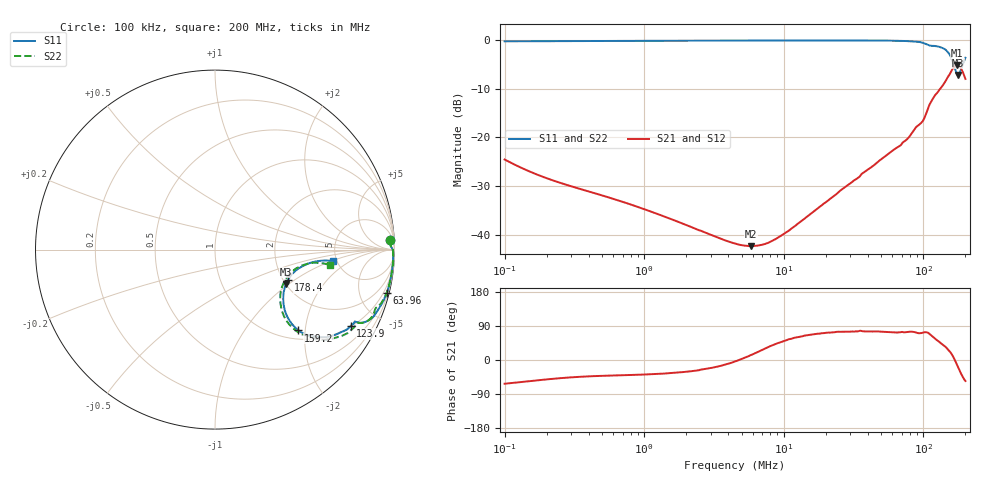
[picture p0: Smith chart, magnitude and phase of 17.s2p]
#  HZ  S  RI  R  50.00
! Rohde & Schwarz Vector Network Analyzer
! Rohde-Schwarz,ZNLE6-2Port,1323001256200024,1.71.1.10-23.02.1.238
! Created: UTC 4/7/2025, 7:53:21 AM
! freq[Hz]  re:S11  im:S11  re:S21  im:S21  re:S12  im:S12  re:S22  im:S22
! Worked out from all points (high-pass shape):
!   1001 points, 100 kHz to 200 MHz, reference 50 ohm
!   highest |S21| = -5.11 dB at 174.4 MHz (marker M1); lowest = -42.4 dB at 5.791 MHz (marker M2)
!   |S21| within 3 dB of the highest: 146.1 MHz to end of sweep
!   lowest |S11| = -7.1 dB at 177.1 MHz (marker M3), VSWR 2.57, Z = 100 - j47.6 ohm
!   |S11| at or under -10 dB: nowhere
!   |S22| runs from -7.4 to 0.0 dB; largest |S21 - S12| = 0.016
!   S11 on the Smith chart (normalised r, x): 100 kHz: 15, +30; 63.96 MHz: 0.41, -8.10; 123.9 MHz: 1.03, -3.54; 159.2 MHz: 1.19, -1.84; 178.4 MHz: 2.11, -0.89; 200 MHz: 4.63, -1.07
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100000  0.9731 0.0521  0.0272 -0.0526  0.0273 -0.0528  0.9731 0.0522
182297.8  0.9759 0.0311  0.0243 -0.0318  0.0243 -0.0319  0.9761 0.0313
355854.1  0.9792 0.0193  0.021 -0.0203  0.021 -0.0204  0.9794 0.0193
1266322  0.9871 0.00649  0.013 -0.00964  0.013 -0.00967  0.987 0.00612
4472136  0.9918 -0.0105  0.00808 -0.000564  0.00805 -0.000683  0.993 -0.00934
5790953  0.9927 -0.0162  0.00741 0.0017  0.00745 0.00152  0.993 -0.0148
8729827  0.9934 -0.0278  0.00663 0.00606  0.00686 0.00588  0.9935 -0.029
1.591428e7  0.9926 -0.0548  0.00649 0.0155  0.00666 0.0153  0.9929 -0.0575
3.616581e7  0.9842 -0.1294  0.00994 0.041  0.0111 0.0405  0.9837 -0.1345
5.663162e7  0.9675 -0.2095  0.0191 0.0656  0.021 0.0647  0.9641 -0.2189
6.395515e7  0.9582 -0.2396  0.0235 0.0742  0.0243 0.0738  0.9517 -0.2527
9.788884e7  0.8613 -0.391  0.0461 0.1369  0.0504 0.1361  0.8545 -0.394
1.080554e8  0.796 -0.4054  0.0622 0.189  0.0671 0.1881  0.7994 -0.4092
1.238982e8  0.7565 -0.4249  0.1673 0.225  0.1711 0.2217  0.7582 -0.4482
1.4424e8  0.6332 -0.4854  0.3124 0.2156  0.3133 0.2088  0.6185 -0.502
1.592205e8  0.465 -0.4502  0.4699 0.1334  0.4687 0.1212  0.4544 -0.4542
1.679215e8  0.3892 -0.3395  0.5415 0.00101  0.5376 -0.0137  0.3732 -0.3426
1.744261e8  0.3832 -0.2341  0.5413 -0.1248  0.5355 -0.1386  0.3665 -0.2331
1.770979e8  0.3959 -0.1914  0.5245 -0.1752  0.518 -0.1887  0.3806 -0.1896
1.784492e8  0.4057 -0.1708  0.5124 -0.1994  0.5056 -0.2126  0.391 -0.1692
1.882009e8  0.5176 -0.0787  0.3832 -0.3143  0.3755 -0.3254  0.5063 -0.0812
2e8  0.657 -0.0652  0.2269 -0.3293  0.2201 -0.3371  0.6392 -0.0855
